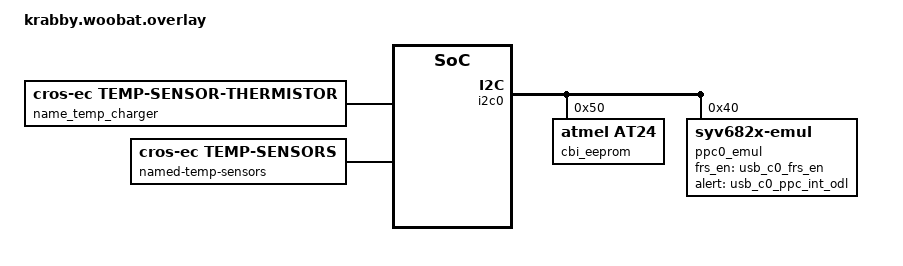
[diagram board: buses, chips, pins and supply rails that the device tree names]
/* Copyright 2024 The ChromiumOS Authors
 * Use of this source code is governed by a BSD-style license that can be
 * found in the LICENSE file.
 */

#include "common.dtsi"
#include "../program/corsola/ite_gpio.dtsi"
#include "../program/corsola/ite_interrupts.dtsi"
#include "../program/corsola/ite_motionsense.dtsi"
#include "../program/corsola/woobat/cbi.dtsi"
#include "../program/corsola/woobat/thermistor.dtsi"

/* remove pinctrl to avoid pull in too many unwanted dependency */
/delete-node/ &pinctrl;

/delete-node/ &{/hibernate-wake-pins};

/*
 * The unused-pins functionality is not currently tested. Remove
 * to avoid mismatches in the GPIO flags configuration.
 */
/delete-node/ &{/unused-pins};

/ {
	name_temp_charger: charger {
		compatible = "cros-ec,temp-sensor-thermistor";

		thermistor = <&thermistor_rt9490>;
		adc = <&adc_charger>;
	};

	named-temp-sensors {
		compatible = "cros-ec,temp-sensors";
		temp_charger: charger {
			status = "okay";
			sensor = <&name_temp_charger>;
		};
	};

	named-gpios {
		/delete-node/ usb_c0_ppc_bc12_int_odl;

		usb_c0_ppc_int_odl: usb_c0_ppc_int_odl {
			gpios = <&gpiod 1 GPIO_INPUT>;
			enum-name = "GPIO_USB_C0_PPC_INT_ODL";
		};

		usb_c0_bc12_int_odl: usb_c0_bc12_int_odl {
			gpios = <&gpiof 1 GPIO_INPUT>;
			enum-name = "GPIO_USB_C0_BC12_INT_ODL";
		};

		/delete-node/ usb_c0_ppc_frsinfo;

		usb_c0_frs_en: usb_c0_frs_en {
			gpios = <&gpiof 0 GPIO_OUTPUT_LOW>;
			enum-name = "GPIO_USB_C0_FRS_EN";
		};
	};

	gpio-interrupts {
		/delete-node/ usb_c0_ppc_bc12;
	};

	aliases {
		/*
		 * motion sense's <>_INT_EVENT is handled
		 * by alias. Using the alias, each driver creates
		 * its own <>_INT_EVENT.
		 */
		bmi3xx-int = &base_accel;
		bma4xx-int = &lid_accel;
	};

	named-i2c-ports {
	    compatible = "named-i2c-ports";

	    i2c_sensor: i2c-sensor {
		    i2c-port = <&i2c0>;
		    enum-names = "I2C_PORT_SENSOR";
	    };
	    i2c_eeprom: i2c-eeprom {
		    i2c-port = <&i2c0>;
		    enum-names = "I2C_PORT_EEPROM";
	    };
	};

	gpio-interrupts {
		int_base_imu: base_imu {
			handler = "base_sensor_interrupt";
		};

		int_lid_imu: lid_imu {
			handler = "lid_sensor_interrupt";
		};

		int_usb_c0_ppc: usb_c0_ppc {
			irq-pin = <&usb_c0_ppc_int_odl>;
			flags = <GPIO_INT_EDGE_FALLING>;
			handler = "ppc_interrupt";
		};

		int_usb_c0_bc12: usb_c0_bc12 {
			 irq-pin = <&usb_c0_bc12_int_odl>;
			 flags = <GPIO_INT_EDGE_FALLING>;
			 handler = "bc12_interrupt";
		};

		int_x_ec_gpio2: x_ec_gpio2 {
			/* We have bypassed the db detection, so link
			 * int_x_ec_gpio2 to ppc_interrupt directly.
			 */
			handler = "ppc_interrupt";
		};
	};

	/*
	 * change all underlying sensor drivers to bmi260 to have a easier way
	 * to mock interrupt handlers.
	 */
	motionsense-sensor-data {
		bmi323_data: bmi323-drv-data {
			compatible = "cros-ec,drvdata-bmi260";
			status = "okay";
		};

		bma422_data: bma422-drv-data {
			compatible = "cros-ec,drvdata-bmi260";
			status = "okay";
		};
	};

	motionsense-sensor-alt {
		alt_lid_accel: alt-lid-accel {
			compatible = "cros-ec,bmi260-accel";
			status = "okay";

			active-mask = "SENSOR_ACTIVE_S0_S3";
			location = "MOTIONSENSE_LOC_LID";
			port = <&i2c_sensor>;
			drv-data = <&bma422_data>;
			alternate-for = <&lid_accel>;
			mutex = <&lid_mutex>;
		};

		alt_base_accel: alt-base-accel {
			compatible = "cros-ec,bmi260-accel";
			status = "okay";

			active-mask = "SENSOR_ACTIVE_S0_S3";
			location = "MOTIONSENSE_LOC_BASE";
			port = <&i2c_sensor>;
			drv-data = <&bmi323_data>;
			alternate-for = <&base_accel>;
			mutex = <&base_mutex>;
		};

		alt_base_gyro: alt-base-gyro {
			compatible = "cros-ec,bmi260-gyro";
			status = "okay";

			active-mask = "SENSOR_ACTIVE_S0_S3";
			location = "MOTIONSENSE_LOC_BASE";
			port = <&i2c_sensor>;
			drv-data = <&bmi323_data>;
			alternate-for = <&base_gyro>;
			mutex = <&base_mutex>;
		};
	};

	usbc {
		/delete-node/ port1@1;
		/delete-node/ port1-muxes;
	};
};

&i2c0 {
	status="okay";

	cbi_eeprom: eeprom@50 {
		compatible = "atmel,at24";
		reg = <0x50>;
		size = <2048>;
		pagesize = <16>;
		address-width = <8>;
		timeout = <5>;
	};

	ppc0_emul: syv682x@40 {
		compatible = "zephyr,syv682x-emul";
		status = "okay";
		reg = <0x40>;
		frs_en_gpio = <&usb_c0_frs_en>;
		alert_gpio = <&usb_c0_ppc_int_odl>;
	};

	/delete-node/ syv682x@42;
	/delete-node/ syv682x@43;
	/delete-node/ rt1718s@2c;

};

&i2c4 {
	/delete-node/ tusb1064-mux-1@44;
};

&lid_accel {
	compatible = "cros-ec,bmi260-accel";
};

&base_accel {
	compatible = "cros-ec,bmi260-accel";
};

&base_gyro {
	compatible = "cros-ec,bmi260-gyro";
};

&icm42607_data {
	compatible = "cros-ec,drvdata-bmi260";
};

&lis2dw12_data {
	compatible = "cros-ec,drvdata-bmi260";
};
